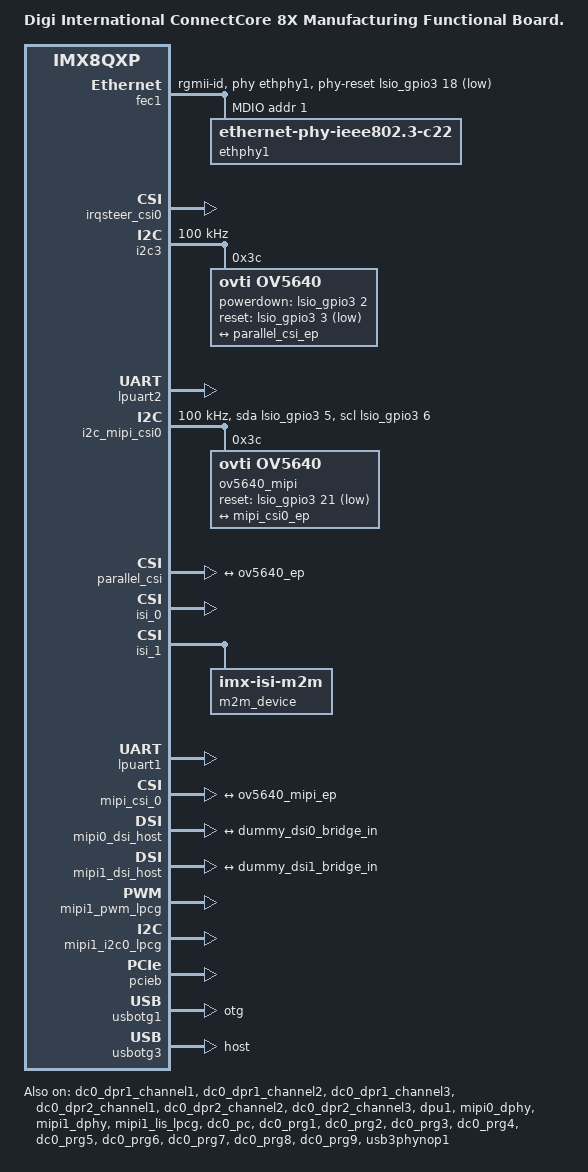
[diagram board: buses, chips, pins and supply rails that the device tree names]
/*
 * Copyright 2018-2021, Digi International Inc.
 *
 * Permission to use, copy, modify, and/or distribute this software for any
 * purpose with or without fee is hereby granted, provided that the above
 * copyright notice and this permission notice appear in all copies.
 * THE SOFTWARE IS PROVIDED "AS IS" AND THE AUTHOR DISCLAIMS ALL WARRANTIES
 * WITH REGARD TO THIS SOFTWARE INCLUDING ALL IMPLIED WARRANTIES OF
 * MERCHANTABILITY AND FITNESS. IN NO EVENT SHALL THE AUTHOR BE LIABLE FOR
 * ANY SPECIAL, DIRECT, INDIRECT, OR CONSEQUENTIAL DAMAGES OR ANY DAMAGES
 * WHATSOEVER RESULTING FROM LOSS OF USE, DATA OR PROFITS, WHETHER IN AN
 * ACTION OF CONTRACT, NEGLIGENCE OR OTHER TORTIOUS ACTION, ARISING OUT OF
 * OR IN CONNECTION WITH THE USE OR PERFORMANCE OF THIS SOFTWARE.
 */

 /dts-v1/;

 /* i.MX8DX CPU */
 #include "../freescale/imx8dx.dtsi"
 /* Digi ConnectCore 8X */
 #include "ccimx8x.dtsi"

/ {
	model = "Digi International ConnectCore 8X Manufacturing Functional Board.";
	compatible = "digi,ccimx8x", "fsl,imx8qxp";
	digi,machine,name = "ccimx8x-mfg-functional";

	chosen {
		bootargs = "console=ttyLP2,115200 earlycon=lpuart32,0x5a080000,115200";
		stdout-path = &lpuart2;
	};

	/* DUMMY MIPI DSI BRIDGE */
	dummy_dsi_bridge@0 {
		compatible = "digi,dummy_dsi_bridge";
		dsi-lanes = <4>;
		video-mode = <1>;
		status = "okay";

		display-timings {
			native-mode = <&mipi0_analyzer>;

			/* MIPI Analyzer */
			mipi0_analyzer: timing@0 {
				clock-frequency = <31500000>;
				hactive = <640>;
				vactive = <480>;
				hback-porch = <4>;
				hfront-porch = <10>;
				vback-porch = <34>;
				vfront-porch = <20>;
				hsync-len = <2>;
				vsync-len = <2>;
				hsync-active = <0>;
				vsync-active = <0>;
				de-active = <0>;
				pixelclk-active = <0>;
			};
		};

		port@0 {
			dummy_dsi0_bridge_in: endpoint {
				remote-endpoint = <&mipi_dsi0_out>;
			};
		};
	};
	/* DUMMY MIPI DSI BRIDGE */
	dummy_dsi_bridge@1 {
		compatible = "digi,dummy_dsi_bridge";
		dsi-lanes = <4>;
		video-mode = <1>;
		status = "okay";

		display-timings {
			native-mode = <&mipi1_analyzer>;

			/* MIPI Analyzer */
			mipi1_analyzer: timing@0 {
				clock-frequency = <31500000>;
				hactive = <640>;
				vactive = <480>;
				hback-porch = <4>;
				hfront-porch = <10>;
				vback-porch = <34>;
				vfront-porch = <20>;
				hsync-len = <2>;
				vsync-len = <2>;
				hsync-active = <0>;
				vsync-active = <0>;
				de-active = <0>;
				pixelclk-active = <0>;
			};
		};

		port@0 {
			dummy_dsi1_bridge_in: endpoint {
				remote-endpoint = <&mipi_dsi1_out>;
			};
		};
	};
};

&dc0_dpr1_channel1 {
	status = "okay";
};

&dc0_dpr1_channel2 {
	status = "okay";
};

&dc0_dpr1_channel3 {
	status = "okay";
};

&dc0_dpr2_channel1 {
	status = "okay";
};

&dc0_dpr2_channel2 {
	status = "okay";
};

&dc0_dpr2_channel3 {
	status = "okay";
};

&dpu1 {
	status = "okay";
};

&fec1 {
	pinctrl-names = "default";
	pinctrl-0 = <&pinctrl_fec_mdio>,
		    <&pinctrl_fec_gpio>,
		    <&pinctrl_fec>;
	phy-mode = "rgmii-id";
	phy-handle = <&ethphy1>;
	phy-reset-gpios = <&lsio_gpio3 18 GPIO_ACTIVE_LOW>;
	phy-reset-duration = <1>;
	fsl,magic-packet;
	status = "okay";

	mdio {
		#address-cells = <1>;
		#size-cells = <0>;

		ethphy1: ethernet-phy@1 {
			compatible = "ethernet-phy-ieee802.3-c22";
			reg = <1>;
			at803x,eee-disabled;
			at803x,vddio-1p8v;
		};
	};
};

/*&gpu_3d0 {
	status = "okay";
};

&imx8_gpu_ss {
	status = "okay";
};

&cm40_intmux {
	status = "okay";
};

&jpegdec {
	status = "okay";
};

&jpegenc {
	status = "okay";
};

&vpu_decoder {
	status = "okay";
};

&vpu_encoder {
	status = "okay";
};*/

&irqsteer_csi0 {
	status = "okay";
};

&i2c3 {
	#address-cells = <1>;
	#size-cells = <0>;
	clock-frequency = <100000>;
	pinctrl-names = "default";
	pinctrl-0 = <&pinctrl_lpi2c3>;
	status = "okay";

	/* CSI Parallel Camera */
	ov5640: ov5640@3c {
		compatible = "ovti,ov5640";
		reg = <0x3c>;
		pinctrl-names = "default";
		pinctrl-0 = <&pinctrl_parallel_csi>;
		clocks = <&pi0_misc_lpcg 0>;
		assigned-clocks = <&pi0_misc_lpcg 0>;
		assigned-clock-rates = <24000000>;
		clock-names = "xclk";
		powerdown-gpios = <&lsio_gpio3 2 GPIO_ACTIVE_HIGH>;
		reset-gpios = <&lsio_gpio3 3 GPIO_ACTIVE_LOW>;
		csi_id = <0>;
		mclk = <24000000>;
		mclk_source = <0>;
		status = "okay";

		port {
			ov5640_ep: endpoint {
				remote-endpoint = <&parallel_csi_ep>;
				bus-type = <5>; /* V4L2_FWNODE_BUS_TYPE_PARALLEL */
				bus-width = <8>;
				vsync-active = <0>;
				hsync-active = <1>;
				pclk-sample = <1>;
			};
		};
	};
};

/* Console */
&lpuart2 {
	pinctrl-names = "default";
	pinctrl-0 = <&pinctrl_lpuart2>;
	status = "okay";
};

/* MIPI-CSI0 I2C available on MIPI Camera connector */
&i2c_mipi_csi0 {
	#address-cells = <1>;
	#size-cells = <0>;
	pinctrl-names = "default", "gpio";
	pinctrl-0 = <&pinctrl_csi0_lpi2c0>;
	pinctrl-1 = <&pinctrl_csi0_lpi2c0_gpio>;
	scl-gpios = <&lsio_gpio3 6 GPIO_ACTIVE_HIGH>;
	sda-gpios = <&lsio_gpio3 5 GPIO_ACTIVE_HIGH>;
	clock-frequency = <100000>;
	status = "okay";

	/* MIPI-CSI2 camera */
	ov5640_mipi: ov5640_mipi@3c {
		compatible = "ovti,ov5640";
		reg = <0x3c>;
		pinctrl-names = "default";
		pinctrl-0 = <&pinctrl_mipi>;
		clocks = <&xtal24m>;
		clock-names = "xclk";
		csi_id = <0>;
		reset-gpios = <&lsio_gpio3 21 GPIO_ACTIVE_LOW>;
		mclk = <24000000>;
		mclk_source = <0>;
		mipi_csi;
		status = "okay";

		port {
			ov5640_mipi_ep: endpoint {
				remote-endpoint = <&mipi_csi0_ep>;
				data-lanes = <1 2>;
				clocks-lanes = <0>;
			};
		};
	};
};

&cameradev {
	parallel_csi;
};

&parallel_csi {
	#address-cells = <1>;
	#size-cells = <0>;
	status = "okay";

	port@0 {
		reg = <0>;
		parallel_csi_ep: endpoint {
			remote-endpoint = <&ov5640_ep>;
		};
	};
};

&isi_0 {
	interface = <6 0 2>;	/* INPUT: 6-PARALLEL CSI */
	parallel_csi;
	status = "okay";
	cap_device {
		status = "okay";
	};
};

&isi_1 {
	interface = <2 0 2>;	/* INPUT: 2-MIPI CSI0 */
	status = "okay";
	cap_device {
		status = "okay";
	};
	m2m_device{
		compatible = "imx-isi-m2m";
		status = "okay";
	};
};

/* UART1 (Bluetooth/Loopback) */
&lpuart1 {
	status = "okay";
};

&mipi_csi_0 {
	#address-cells = <1>;
	#size-cells = <0>;
	/delete-property/virtual-channel;
	status = "okay";

	/* Camera 0  MIPI CSI-2 (CSIS0) */
	port@0 {
		reg = <0>;
		mipi_csi0_ep: endpoint {
			remote-endpoint = <&ov5640_mipi_ep>;
			data-lanes = <1 2>;
		};
	};
};

/* MIPI display support */
&mipi0_dphy {
	status = "okay";
};

&mipi0_dsi_host {
	status = "okay";

	ports {
		port@1 {
			reg = <1>;
			mipi_dsi0_out: endpoint {
				remote-endpoint = <&dummy_dsi0_bridge_in>;
			};
		};
	};
};

&mipi1_dphy {
	status = "okay";
};

&mipi1_dsi_host {
	status = "okay";

	ports {
		port@1 {
			reg = <1>;
			mipi_dsi1_out: endpoint {
				remote-endpoint = <&dummy_dsi1_bridge_in>;
			};
		};
	};
};

&mipi1_lis_lpcg {
	status = "okay";
};

&mipi1_pwm_lpcg {
	status = "okay";
};

&mipi1_i2c0_lpcg {
	status = "okay";
};

/* PCIe (Wireless/Card) */
&pcieb {
	status = "okay";
};

&dc0_pc {
	status = "okay";
};

&dc0_prg1 {
	status = "okay";
};

&dc0_prg2 {
	status = "okay";
};

&dc0_prg3 {
	status = "okay";
};

&dc0_prg4 {
	status = "okay";
};

&dc0_prg5 {
	status = "okay";
};

&dc0_prg6 {
	status = "okay";
};

&dc0_prg7 {
	status = "okay";
};

&dc0_prg8 {
	status = "okay";
};

&dc0_prg9 {
	status = "okay";
};

&usbotg1 {
	dr_mode = "otg";
	disable-over-current;
	status = "okay";
};

&usb3phynop1 {
	status = "okay";
};

&usbotg3 {
	dr_mode = "host";
	disable-over-current;
	status = "okay";
};

/* IOMUX */
&iomuxc {
	pinctrl-names = "default";
	pinctrl-0 = <&pinctrl_hog_common>, <&pinctrl_hog_non_wb>;

	pinctrl_hog_common: hoggrpcommon {
		fsl,pins = <
			/* Castellated pads */
			IMX8QXP_USDHC1_RESET_B_LSIO_GPIO4_IO19		0x06000020
			IMX8QXP_USDHC1_VSELECT_LSIO_GPIO4_IO20		0x06000020
			IMX8QXP_USDHC1_WP_LSIO_GPIO4_IO21			0x06000020
			IMX8QXP_USDHC1_CD_B_LSIO_GPIO4_IO22		0x06000020
			IMX8QXP_USDHC1_CMD_LSIO_GPIO4_IO24			0x06000020
			IMX8QXP_USDHC1_DATA0_LSIO_GPIO4_IO25		0x06000020
			IMX8QXP_USDHC1_DATA1_LSIO_GPIO4_IO26		0x06000020
			IMX8QXP_USDHC1_DATA2_LSIO_GPIO4_IO27		0x06000020
			IMX8QXP_USDHC1_DATA3_LSIO_GPIO4_IO28		0x06000020
			IMX8QXP_USDHC1_CLK_LSIO_GPIO4_IO23			0x06000020
			IMX8QXP_UART0_TX_LSIO_GPIO1_IO22			0x06000020
			IMX8QXP_UART0_RX_LSIO_GPIO1_IO21			0x06000020
			IMX8QXP_MIPI_DSI0_I2C0_SCL_LSIO_GPIO1_IO25		0x06000020
			IMX8QXP_MIPI_DSI0_I2C0_SDA_LSIO_GPIO1_IO26		0x06000020
			IMX8QXP_MIPI_DSI0_GPIO0_00_LSIO_GPIO1_IO27		0x06000020
			IMX8QXP_MIPI_DSI1_I2C0_SCL_LSIO_GPIO1_IO29		0x06000020
			IMX8QXP_MIPI_DSI1_I2C0_SDA_LSIO_GPIO1_IO30		0x06000020
			IMX8QXP_MIPI_DSI1_GPIO0_00_LSIO_GPIO1_IO31		0x06000020
			IMX8QXP_MIPI_DSI1_GPIO0_01_LSIO_GPIO2_IO00		0x06000020
			IMX8QXP_QSPI0A_SS1_B_LSIO_GPIO3_IO15		0x06000020
			IMX8QXP_QSPI0A_SCLK_LSIO_GPIO3_IO16		0x06000020
			IMX8QXP_QSPI0A_DQS_LSIO_GPIO3_IO13			0x06000020
			IMX8QXP_QSPI0A_SS0_B_LSIO_GPIO3_IO14		0x06000020
			IMX8QXP_FLEXCAN2_RX_LSIO_GPIO1_IO19		0x06000020
			IMX8QXP_FLEXCAN2_TX_LSIO_GPIO1_IO20		0x06000020
			IMX8QXP_FLEXCAN1_RX_LSIO_GPIO1_IO17		0x06000020
			IMX8QXP_FLEXCAN1_TX_LSIO_GPIO1_IO18		0x06000020
			IMX8QXP_FLEXCAN0_RX_LSIO_GPIO1_IO15		0x06000020
			IMX8QXP_FLEXCAN0_TX_LSIO_GPIO1_IO16		0x06000020
			IMX8QXP_ADC_IN1_LSIO_GPIO1_IO09			0x06000020
			IMX8QXP_ADC_IN0_LSIO_GPIO1_IO10			0x06000020
			IMX8QXP_MCLK_OUT0_LSIO_GPIO0_IO20			0x06000020
			IMX8QXP_MCLK_IN0_LSIO_GPIO0_IO19			0x06000020
			IMX8QXP_SPI3_SCK_LSIO_GPIO0_IO13			0x06000020
			IMX8QXP_SPI3_SDO_LSIO_GPIO0_IO14			0x06000020
			IMX8QXP_SPI3_SDI_LSIO_GPIO0_IO15			0x06000020
			IMX8QXP_SPI3_CS0_LSIO_GPIO0_IO16			0x06000020
			IMX8QXP_ENET0_REFCLK_125M_25M_LSIO_GPIO5_IO09	0x06000020
			IMX8QXP_SCU_GPIO0_00_LSIO_GPIO2_IO03		0x06000020
			/* LGA pads */
			IMX8QXP_ESAI0_SCKR_LSIO_GPIO0_IO02			0x06000020
			IMX8QXP_ESAI0_SCKT_LSIO_GPIO0_IO03			0x06000020
			IMX8QXP_ESAI0_TX1_LSIO_GPIO0_IO05			0x06000020
			IMX8QXP_USB_SS3_TC1_LSIO_GPIO4_IO04		0x06000020
			IMX8QXP_USB_SS3_TC0_LSIO_GPIO4_IO03		0x06000020
			IMX8QXP_USB_SS3_TC2_LSIO_GPIO4_IO05		0x06000020
			IMX8QXP_USB_SS3_TC3_LSIO_GPIO4_IO06		0x06000020
			IMX8QXP_SPI2_CS0_LSIO_GPIO1_IO00			0x06000020
			IMX8QXP_ESAI0_TX2_RX3_LSIO_GPIO0_IO06		0x06000020
			IMX8QXP_ESAI0_FST_LSIO_GPIO0_IO01			0x06000020
			IMX8QXP_ESAI0_TX4_RX1_LSIO_GPIO0_IO08		0x06000020
			IMX8QXP_SPDIF0_TX_LSIO_GPIO0_IO11			0x06000020
			IMX8QXP_SAI1_RXD_LSIO_GPIO0_IO29			0x06000020
			IMX8QXP_ESAI0_TX5_RX0_LSIO_GPIO0_IO09		0x06000020
			IMX8QXP_SPDIF0_RX_LSIO_GPIO0_IO10			0x06000020
			IMX8QXP_ESAI0_TX0_LSIO_GPIO0_IO04			0x06000020
			IMX8QXP_ESAI0_TX3_RX2_LSIO_GPIO0_IO07		0x06000020
			IMX8QXP_SPDIF0_EXT_CLK_LSIO_GPIO0_IO12		0x06000020
			IMX8QXP_SPI2_SCK_LSIO_GPIO1_IO03			0x06000020
			IMX8QXP_SPI0_SDO_LSIO_GPIO1_IO06			0x06000020
			IMX8QXP_SAI0_TXD_LSIO_GPIO0_IO25			0x06000020
			IMX8QXP_SPI0_SDI_LSIO_GPIO1_IO05			0x06000020
			IMX8QXP_SAI0_TXC_LSIO_GPIO0_IO26			0x06000020
			IMX8QXP_SAI1_RXFS_LSIO_GPIO0_IO31			0x06000020
			IMX8QXP_QSPI0B_DATA1_LSIO_GPIO3_IO19		0x06000020
			IMX8QXP_QSPI0B_SS1_B_LSIO_GPIO3_IO24		0x06000020
			IMX8QXP_QSPI0B_DQS_LSIO_GPIO3_IO22			0x06000020
			IMX8QXP_QSPI0B_SS0_B_LSIO_GPIO3_IO23		0x06000020
			IMX8QXP_QSPI0B_DATA2_LSIO_GPIO3_IO20		0x06000020
			IMX8QXP_QSPI0B_SCLK_LSIO_GPIO3_IO17		0x06000020
			IMX8QXP_ADC_IN4_LSIO_GPIO1_IO14			0x06000020
			IMX8QXP_ADC_IN3_LSIO_GPIO1_IO11			0x06000020
			IMX8QXP_ADC_IN2_LSIO_GPIO1_IO12			0x06000020
			IMX8QXP_ADC_IN5_LSIO_GPIO1_IO13			0x06000020
			IMX8QXP_MIPI_CSI0_MCLK_OUT_LSIO_GPIO3_IO04		0x06000020
		>;
	};

	pinctrl_hog_non_wb: hoggrpnonwb {
		fsl,pins = <
			/* COMMON NON-WIRELESS PAIRS */
			IMX8QXP_QSPI0A_DATA1_LSIO_GPIO3_IO10	0x06000021
			IMX8QXP_QSPI0A_DATA2_LSIO_GPIO3_IO11	0x06000021
		>;
	};

	pinctrl_csi0_lpi2c0: csi0lpi2c0grp {
		fsl,pins = <
			IMX8QXP_MIPI_CSI0_I2C0_SCL_MIPI_CSI0_I2C0_SCL	0xc2000020
			IMX8QXP_MIPI_CSI0_I2C0_SDA_MIPI_CSI0_I2C0_SDA	0xc2000020
		>;
	};

	pinctrl_csi0_lpi2c0_gpio: csi0lpi2c0gpiogrp {
		fsl,pins = <
			IMX8QXP_MIPI_CSI0_I2C0_SCL_LSIO_GPIO3_IO05	0xc2000020
			IMX8QXP_MIPI_CSI0_I2C0_SDA_LSIO_GPIO3_IO06	0xc2000020
		>;
	};

	pinctrl_fec: fecgrp {
		fsl,pins = <
			/*
			 * The SCFW of B0 defaults ENET0/1 domains to 2.5V:
			 * - VDD_ENET0_1P8_2P5_3P3
			 * - VDD_ENET0_VSELECT_1P8_2P5_3P3
			 * - VDD_ESAI_SPDIF_1P8_2P5_3P3
			 * Turn the domains back to 1.8/3.3V detector
			 */
			IMX8QXP_COMP_CTL_GPIO_1V8_3V3_ENET_ENETB0_PAD	0x000014a0
			IMX8QXP_COMP_CTL_GPIO_1V8_3V3_ENET_ENETB1_PAD	0x000014a0
			IMX8QXP_COMP_CTL_GPIO_1V8_3V3_GPIORHB_PAD		0x000514a0

			IMX8QXP_ENET0_RGMII_TX_CTL_CONN_ENET0_RGMII_TX_CTL	0x00000061
			IMX8QXP_ENET0_RGMII_TXC_CONN_ENET0_RGMII_TXC	0x00000061
			IMX8QXP_ENET0_RGMII_TXD0_CONN_ENET0_RGMII_TXD0	0x00000061
			IMX8QXP_ENET0_RGMII_TXD1_CONN_ENET0_RGMII_TXD1	0x00000061
			IMX8QXP_ENET0_RGMII_TXD2_CONN_ENET0_RGMII_TXD2	0x00000061
			IMX8QXP_ENET0_RGMII_TXD3_CONN_ENET0_RGMII_TXD3	0x00000061
			IMX8QXP_ENET0_RGMII_RXC_CONN_ENET0_RGMII_RXC	0x00000061
			IMX8QXP_ENET0_RGMII_RX_CTL_CONN_ENET0_RGMII_RX_CTL	0x00000061
			IMX8QXP_ENET0_RGMII_RXD0_CONN_ENET0_RGMII_RXD0	0x00000061
			IMX8QXP_ENET0_RGMII_RXD1_CONN_ENET0_RGMII_RXD1	0x00000061
			IMX8QXP_ENET0_RGMII_RXD2_CONN_ENET0_RGMII_RXD2	0x00000061
			IMX8QXP_ENET0_RGMII_RXD3_CONN_ENET0_RGMII_RXD3	0x00000061
		>;
	};

	pinctrl_fec_gpio: fecgpiogrp {
		fsl,pins = <
			/* PHY reset */
			IMX8QXP_QSPI0B_DATA0_LSIO_GPIO3_IO18	0x06000021
			/* PHY interrupt */
			IMX8QXP_MIPI_DSI0_GPIO0_01_LSIO_GPIO1_IO28	0x06000021
		>;
	};

	pinctrl_fec_mdio: fecmdiogrp {
		fsl,pins = <
			IMX8QXP_ENET0_MDC_CONN_ENET0_MDC		0x06000020
			IMX8QXP_ENET0_MDIO_CONN_ENET0_MDIO		0x06000020
		>;
	};

	pinctrl_lpi2c3: lpi2c3grp {
		fsl,pins = <
			IMX8QXP_SPI3_CS1_ADMA_I2C3_SCL	0x06000020
			IMX8QXP_MCLK_IN1_ADMA_I2C3_SDA	0x06000020
		>;
	};

	pinctrl_lpuart2: lpuart2grp {
		fsl,pins = <
			IMX8QXP_UART2_TX_ADMA_UART2_TX	0x06000020
			IMX8QXP_UART2_RX_ADMA_UART2_RX	0x06000020
		>;
	};

	pinctrl_mipi: mipi {
		fsl,pins = <
			IMX8QXP_QSPI0B_DATA3_LSIO_GPIO3_IO21 0xC0000041
		>;
	};

	pinctrl_parallel_csi: parallelcsigrp {
		fsl,pins = <
			IMX8QXP_CSI_D00_CI_PI_D02		0xC0000041
			IMX8QXP_CSI_D01_CI_PI_D03		0xC0000041
			IMX8QXP_CSI_D02_CI_PI_D04		0xC0000041
			IMX8QXP_CSI_D03_CI_PI_D05		0xC0000041
			IMX8QXP_CSI_D04_CI_PI_D06		0xC0000041
			IMX8QXP_CSI_D05_CI_PI_D07		0xC0000041
			IMX8QXP_CSI_D06_CI_PI_D08		0xC0000041
			IMX8QXP_CSI_D07_CI_PI_D09		0xC0000041

			IMX8QXP_CSI_MCLK_CI_PI_MCLK	0xC0000041
			IMX8QXP_CSI_PCLK_CI_PI_PCLK	0xC0000041
			IMX8QXP_CSI_HSYNC_CI_PI_HSYNC	0xC0000041
			IMX8QXP_CSI_VSYNC_CI_PI_VSYNC	0xC0000041
			/* CSI Camera enable */
			IMX8QXP_CSI_EN_LSIO_GPIO3_IO02	0xC0000041
			/* CSI Camera reset */
			IMX8QXP_CSI_RESET_LSIO_GPIO3_IO03	0xC0000041

			/* CSI_D0 */
			IMX8QXP_SAI0_RXD_LSIO_GPIO0_IO27	0x06000020
			/* CSI_D1 */
			IMX8QXP_SAI0_TXFS_LSIO_GPIO0_IO28	0x06000020
			/* CSI_D2 */
			IMX8QXP_SPI0_SCK_LSIO_GPIO1_IO04	0x06000020
			/* CSI_D3 */
			IMX8QXP_SAI1_RXC_LSIO_GPIO0_IO30	0x06000020
			/* CSI_D4 */
			IMX8QXP_SPI0_CS0_LSIO_GPIO1_IO08	0x06000020
			/* CSI_D5 */
			IMX8QXP_SPI0_CS1_LSIO_GPIO1_IO07	0x06000020
			/* CSI_D6 */
			IMX8QXP_SPI2_SDO_LSIO_GPIO1_IO01	0x06000020
			/* CSI_D7 */
			IMX8QXP_SPI2_SDI_LSIO_GPIO1_IO02	0x06000020
		>;
	};

	/* PCIE (Mini Card) */
	pinctrl_pcieb_mini_card: pcieagrp_mini_card {
		fsl,pins = <
			IMX8QXP_PCIE_CTRL0_PERST_B_LSIO_GPIO4_IO00		0x06000021
			IMX8QXP_PCIE_CTRL0_WAKE_B_LSIO_GPIO4_IO02		0x04000021
		>;
	};
};
